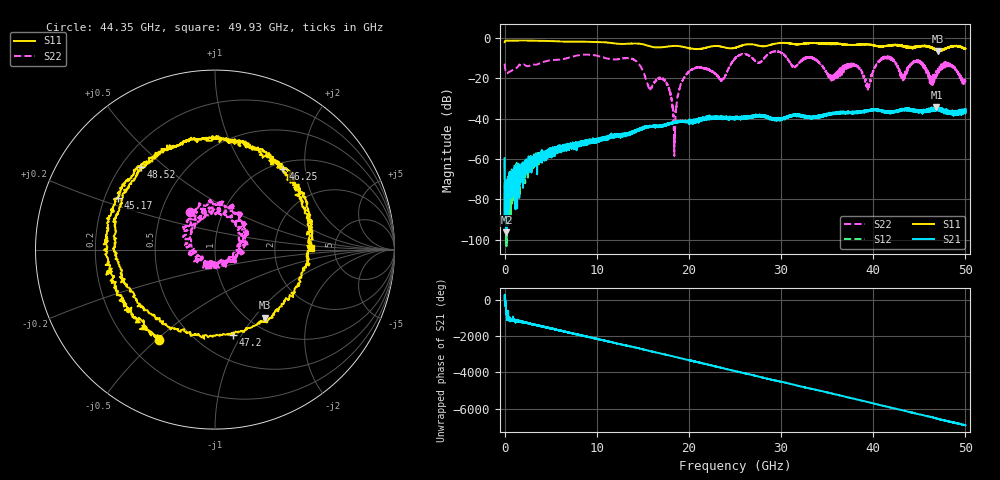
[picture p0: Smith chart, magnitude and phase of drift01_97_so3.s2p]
!Created with skrf (http://scikit-rf.org).
# Hz S RI R 50.0
!freq ReS11 ImS11 ReS21 ImS21 ReS12 ImS12 ReS22 ImS22
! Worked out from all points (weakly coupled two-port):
!   10001 points, 300 kHz to 50 GHz, reference 50 ohm
!   highest |S21| = -34.49 dB at 46.86 GHz (marker M1); lowest = -96.1 dB at 205.3 MHz (marker M2)
!   lowest |S11| = -6.6 dB at 47.05 GHz (marker M3), VSWR 2.77, Z = 58.4 - j56.9 ohm
!   |S11| at or under -10 dB: nowhere
!   |S22| runs from -58.5 to -6.7 dB; largest |S21 - S12| = 0.0044
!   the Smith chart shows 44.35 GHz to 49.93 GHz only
!   S11 on the Smith chart (normalised r, x): 44.35 GHz: 0.33, -0.51; 45.17 GHz: 0.25, +0.23; 46.25 GHz: 1.11, +1.53; 47.2 GHz: 0.74, -0.92; 48.52 GHz: 0.28, +0.42; 49.93 GHz: 3.32, +0.10
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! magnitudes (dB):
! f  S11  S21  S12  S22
! 300 kHz  -2.2  -59.6  -61.3  -12.8
! 205.3 MHz  -1.4  -96.1  -82.8  -17.5
! 8.335 GHz  -1.9  -52.5  -52.9  -8.5
! 16.67 GHz  -4.8  -43.7  -43.7  -20.0
! 17.74 GHz  -4.3  -42.9  -42.8  -24.0
! 18.44 GHz  -4.1  -41.7  -41.9  -52.6
! 19.91 GHz  -5.1  -41.6  -41.6  -17.1
! 23.61 GHz  -4.5  -39.6  -39.3  -20.7
! 25 GHz  -5.0  -40.5  -39.4  -10.2
! 33.34 GHz  -2.6  -39.3  -39.6  -9.9
! 39.46 GHz  -3.3  -35.9  -35.9  -23.3
! 41.67 GHz  -3.9  -36.8  -36.9  -9.7
! 43.18 GHz  -4.2  -35.2  -35.6  -19.6
! 44.35 GHz  -4.5  -35.9  -36.0  -11.9
! 45.17 GHz  -4.2  -35.9  -36.3  -12.6
! 46.25 GHz  -4.6  -35.6  -35.3  -22.4
! 46.86 GHz  -6.1  -34.5  -35.0  -16.8
! 47.05 GHz  -6.6  -35.0  -35.2  -15.8
! 47.2 GHz  -6.3  -35.9  -35.4  -14.5
! 48.52 GHz  -4.2  -37.5  -37.2  -13.5
! 49.93 GHz  -5.4  -36.0  -36.6  -20.6
! 50 GHz  -5.4  -35.3  -36.9  -21.5
